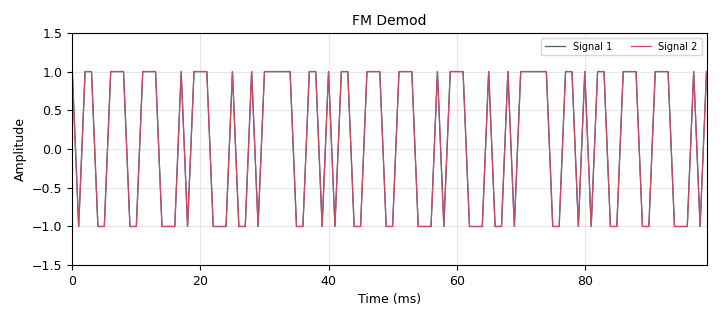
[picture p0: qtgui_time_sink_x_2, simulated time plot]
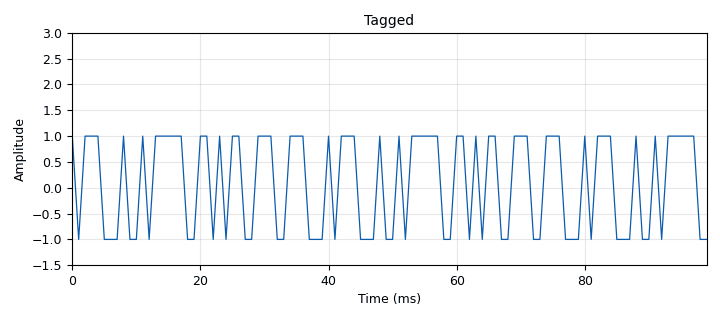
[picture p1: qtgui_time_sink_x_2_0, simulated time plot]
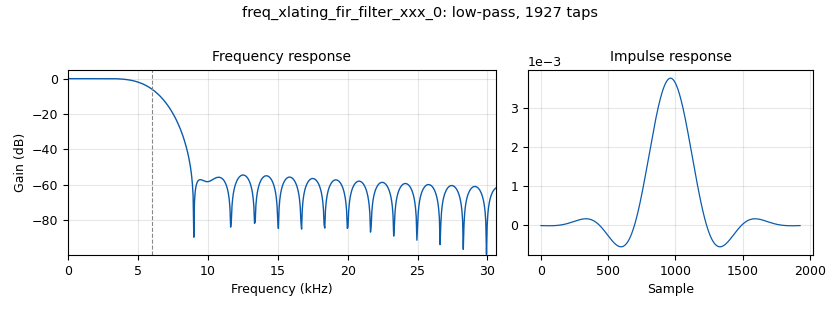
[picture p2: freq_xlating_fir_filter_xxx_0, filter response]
options:
  parameters:
    author: Admin
    generate_options: qt_gui
    id: Preamble_FSK
    output_language: python
    title: simulated FSK preamble
  states: {}

blocks:
- name: FM_decim
  id: variable
  parameters:
    value: int(samp_rate/decim/(bit_rate))
  states: {}
- name: FM_devia
  id: variable
  parameters:
    value: '1'
  states: {}
- name: GUI_t
  id: variable
  parameters:
    value: '0.1'
  states: {}
- name: bit_rate
  id: variable
  parameters:
    value: '1000'
  states: {}
- name: data
  id: variable
  parameters:
    value: '[random.choice((-1,1)) for i in range(16)]'
  states: {}
- name: data_label
  id: variable_qtgui_label
  parameters:
    gui_hint: (2,2,1,2)
    label: 'Data: '
    type: raw
    value: data
  states: {}
- name: decim
  id: variable
  parameters:
    value: int(samp_rate/(8*freq))
  states: {}
- name: freq
  id: variable
  parameters:
    value: '4000'
  states: {}
- name: gain
  id: variable_qtgui_range
  parameters:
    gui_hint: (0,0,1,2)
    start: '0.4'
    step: '0.2'
    stop: '2'
    value: '0.8'
  states: {}
- name: low_pass
  id: variable_low_pass_filter_taps
  parameters:
    cutoff_freq: 1.5*freq
    gain: '1.0'
    samp_rate: samp_rate
    width: freq
    win: window.WIN_HAMMING
  states: {}
- name: noise
  id: variable_qtgui_range
  parameters:
    gui_hint: (0,2,1,2)
    start: '0.001'
    step: '0.001'
    stop: '0.01'
    value: '0.001'
  states: {}
- name: pad
  id: variable
  parameters:
    value: int(samp_rate/bit_rate)
  states: {}
- name: postamble
  id: variable
  parameters:
    value: '[+1,+1,+1,-1,-1,-1,+1,-1,-1,+1,-1]'
  states: {}
- name: postamble_label
  id: variable_qtgui_label
  parameters:
    gui_hint: (2,1,1,1)
    label: 'Postamble: '
    type: raw
    value: postamble
  states: {}
- name: preamble
  id: variable
  parameters:
    value: '[+1,+1,+1,+1,+1,-1,-1,+1,+1,-1,+1,-1,+1]'
  states: {}
- name: preamble_label
  id: variable_qtgui_label
  parameters:
    gui_hint: (2,0,1,1)
    label: 'Preamble: '
    type: raw
    value: preamble
  states: {}
- name: samp_rate
  id: variable
  parameters:
    value: '3200000'
  states: {}
- name: analog_fm_demod_cf_0
  id: analog_fm_demod_cf
  parameters:
    audio_decim: FM_decim
    audio_pass: 0.1*freq
    audio_stop: 2*freq
    chan_rate: samp_rate/decim
    deviation: FM_devia*freq
    gain: '1.0'
    tau: '0'
  states: {}
- name: analog_noise_source_x_0
  id: analog_noise_source_x
  parameters:
    amp: noise
    noise_type: analog.GR_GAUSSIAN
    seed: '0'
    type: complex
  states: {}
- name: analog_sig_source_x_0
  id: analog_sig_source_x
  parameters:
    amp: '1'
    freq: '-freq'
    offset: '0'
    phase: '0'
    samp_rate: samp_rate
    type: complex
    waveform: analog.GR_COS_WAVE
  states: {}
- name: analog_sig_source_x_0_0
  id: analog_sig_source_x
  parameters:
    amp: '1'
    freq: freq
    offset: '0'
    phase: '0'
    samp_rate: samp_rate
    type: complex
    waveform: analog.GR_COS_WAVE
  states: {}
- name: analog_simple_squelch_cc_0
  id: analog_simple_squelch_cc
  parameters:
    alpha: '1'
    threshold: '-30'
  states: {}
- name: blocks_add_xx_0
  id: blocks_add_xx
  parameters:
    type: complex
  states: {}
- name: blocks_complex_to_float_0
  id: blocks_complex_to_float
  parameters: {}
  states: {}
- name: blocks_delay_0
  id: blocks_delay
  parameters:
    delay: '1'
    type: float
  states: {}
- name: blocks_float_to_complex_0
  id: blocks_float_to_complex
  parameters: {}
  states: {}
- name: blocks_multiply_const_vxx_0
  id: blocks_multiply_const_vxx
  parameters:
    const: gain
    type: complex
  states: {}
- name: blocks_multiply_const_vxx_0_0
  id: blocks_multiply_const_vxx
  parameters:
    const: '0.8'
    type: complex
  states: {}
- name: blocks_null_source_0
  id: blocks_null_source
  parameters:
    type: float
  states: {}
- name: blocks_repeat_0
  id: blocks_repeat
  parameters:
    interp: pad
    type: float
  states: {}
- name: blocks_tag_gate_0
  id: blocks_tag_gate
  parameters:
    propagate_tags: 'False'
    type: float
  states: {}
- name: blocks_throttle2_0
  id: blocks_throttle2
  parameters:
    samples_per_second: samp_rate
    type: complex
  states: {}
- name: blocks_vector_source_x_0
  id: blocks_vector_source_x
  parameters:
    repeat: 'True'
    type: float
    vector: preamble+data+postamble
  states: {}
- name: digital_corr_est_cc_0
  id: digital_corr_est_cc
  parameters:
    mark_delay: '1'
    sps: '1'
    symbols: preamble
    threshold: '0.9'
    threshold_method: digital.THRESHOLD_ABSOLUTE
  states: {}
- name: digital_corr_est_cc_0_0
  id: digital_corr_est_cc
  parameters:
    mark_delay: '1'
    sps: '1'
    symbols: postamble
    threshold: '0.9'
    threshold_method: digital.THRESHOLD_ABSOLUTE
  states: {}
- name: epy_block_0
  id: epy_block
  parameters:
    _source_code: |
      """
      Embedded Python Blocks:

      Each time this file is saved, GRC will instantiate the first class it finds
      to get ports and parameters of your block. The arguments to __init__  will
      be the parameters. All of them are required to have default values!
      """

      import numpy as np
      from gnuradio import gr


      class blk(gr.sync_block):  # other base classes are basic_block, decim_block, interp_block
          """Embedded Python Block example - a simple multiply const"""

          def __init__(self):  # only default arguments here
              """arguments to this function show up as parameters in GRC"""
              gr.sync_block.__init__(
                  self,
                  name='MUX',   # will show up in GRC
                  in_sig=[np.float32, np.complex64, np.complex64],
                  out_sig=[np.complex64]
              )
              # if an attribute with the same name as a parameter is found,
              # a callback is registered (properties work, too).


          def work(self, input_items, output_items):
              for smapleIndex in range(len(input_items[0])):
                  if input_items[0][smapleIndex] == -1.0:
                      output_items[0][smapleIndex] = input_items[1][smapleIndex]
                  elif input_items[0][smapleIndex] == 1.0:
                      output_items[0][smapleIndex] = input_items[2][smapleIndex]

              return len(output_items[0])
  states: {}
- name: epy_block_1
  id: epy_block
  parameters:
    _source_code: |
      """
      Embedded Python Blocks:

      Each time this file is saved, GRC will instantiate the first class it finds
      to get ports and parameters of your block. The arguments to __init__  will
      be the parameters. All of them are required to have default values!
      """

      import numpy as np
      from gnuradio import gr


      class blk(gr.sync_block):  # other base classes are basic_block, decim_block, interp_block
          """Embedded Python Block example - a simple multiply const"""

          def __init__(self, down_th=-0.5, up_th=0.5, default_out=0):  # only default arguments here
              """arguments to this function show up as parameters in GRC"""
              gr.sync_block.__init__(
                  self,
                  name='Threshold',   # will show up in GRC
                  in_sig=[np.float32],
                  out_sig=[np.float32]
              )
              # if an attribute with the same name as a parameter is found,
              # a callback is registered (properties work, too).
              self.down_th = down_th
              self.up_th = up_th
              self.default_out = default_out

          def work(self, input_items, output_items):
              for smapleIndex in range(len(input_items[0])):
                  if input_items[0][smapleIndex] <= self.down_th:
                      output_items[0][smapleIndex] = -1.0
                  elif input_items[0][smapleIndex] >= self.up_th:
                      output_items[0][smapleIndex] = 1.0
                  else:
                      output_items[0][smapleIndex] = self.default_out

              return len(output_items[0])
    default_out: '0.0'
    down_th: '-0.5'
    up_th: '0.5'
  states: {}
- name: epy_block_2
  id: epy_block
  parameters:
    _source_code: |
      import numpy as np
      from gnuradio import gr
      import pmt


      class blk(gr.sync_block):  # other base classes are basic_block, decim_block, interp_block

          def __init__(self):  # only default arguments here
              """arguments to this function show up as parameters in GRC"""
              gr.sync_block.__init__(
                  self,
                  name='Extract data',   # will show up in GRC
                  in_sig=[np.float32],
                  out_sig=[np.float32, np.float32]
              )
              # if an attribute with the same name as a parameter is found,
              # a callback is registered (properties work, too).

              self.to_start = 0  # count to start
              self.to_end = 0  # count to end
              '''state
                  1 when estimated preamble, prepare to start
                  2 when estimated postamble, prepare to stop
                  3 when info data is transmitting
                  0 otherwise'''
              self.state = 0

          def work(self, input_items, output_items):
              for smapleIndex in range(len(input_items[0])):
                  # detect tag
                  tags = self.get_tags_in_window(0, smapleIndex, smapleIndex+1)  # get the tags
                  for tag in tags:
                      key = pmt.to_python(tag.key)
                      if key != 'corr_est':  # only to find tag "corr_est"
                          continue
                      else:
                          value = pmt.to_python(tag.value)
                          if (round(value)==169) and (self.state==0):  # preamble
                              self.state = 1
                              self.to_start = 13
                          elif (round(value)==121) and (self.state==3):  # postamble
                              self.state = 2
                              self.to_end = 11
                          break
                  
                  # do
                  output_items[1][smapleIndex] = None
                  if self.state == 3:  # transmitting
                      output_items[1][smapleIndex] = input_items[0][smapleIndex]  # data to port 1
                  elif self.state == 1:  # prepare to start
                      self.to_start -= 1
                  elif self.state == 2:  # prepare to stop
                      self.to_end -= 1
                  
                  # state update
                  if (self.state==1) and (self.to_start==0):  # data start at next sample
                      self.state = 3
                  elif (self.state==2) and (self.to_end==0):  # end and stop
                      self.state = 0

              output_items[0][:] = input_items[0]  # copy all samples to output port 0
              return len(output_items[0])
  states: {}
- name: freq_xlating_fir_filter_xxx_0
  id: freq_xlating_fir_filter_xxx
  parameters:
    center_freq: '0'
    decim: decim
    samp_rate: samp_rate
    taps: low_pass
    type: ccc
  states: {}
- name: import_0
  id: import
  parameters:
    imports: import random
  states: {}
- name: qtgui_time_sink_x_2
  id: qtgui_time_sink_x
  parameters:
    grid: 'True'
    gui_hint: (1,0,1,4)
    name: FM Demod
    nconnections: '2'
    size: int(GUI_t*samp_rate/decim/FM_decim)
    srate: samp_rate/decim/FM_decim
    type: float
    ymax: '1.5'
    ymin: '-1.5'
  states: {}
- name: qtgui_time_sink_x_2_0
  id: qtgui_time_sink_x
  parameters:
    grid: 'True'
    gui_hint: (3,0,1,4)
    name: Tagged
    size: int(GUI_t*samp_rate/decim/FM_decim)
    srate: samp_rate/decim/FM_decim
    type: float
    ymax: '3'
    ymin: '-1.5'
  states: {}
- name: qtgui_time_sink_x_2_0_0
  id: qtgui_time_sink_x
  parameters:
    grid: 'True'
    gui_hint: (4,0,1,4)
    name: Data
    size: int(GUI_t*samp_rate/decim/FM_decim)
    srate: samp_rate/decim/FM_decim
    type: float
    ymax: '1.5'
    ymin: '-1.5'
  states: {}
- name: virtual_sink_0
  id: virtual_sink
  parameters:
    stream_id: FSK
  states: {}
- name: virtual_sink_0_0
  id: virtual_sink
  parameters:
    stream_id: data
  states: {}
- name: virtual_sink_1
  id: virtual_sink
  parameters:
    stream_id: demod
  states: {}
- name: virtual_source_0
  id: virtual_source
  parameters:
    stream_id: FSK
  states: {}
- name: virtual_source_0_0
  id: virtual_source
  parameters:
    stream_id: data
  states: {}
- name: virtual_source_1
  id: virtual_source
  parameters:
    stream_id: demod
  states: {}

connections:
- [analog_fm_demod_cf_0, '0', epy_block_1, '0']
- [analog_noise_source_x_0, '0', blocks_add_xx_0, '1']
- [analog_sig_source_x_0, '0', epy_block_0, '1']
- [analog_sig_source_x_0_0, '0', epy_block_0, '2']
- [analog_simple_squelch_cc_0, '0', analog_fm_demod_cf_0, '0']
- [blocks_add_xx_0, '0', freq_xlating_fir_filter_xxx_0, '0']
- [blocks_complex_to_float_0, '0', epy_block_2, '0']
- [blocks_delay_0, '0', qtgui_time_sink_x_2, '0']
- [blocks_float_to_complex_0, '0', digital_corr_est_cc_0, '0']
- [blocks_multiply_const_vxx_0, '0', blocks_add_xx_0, '0']
- [blocks_multiply_const_vxx_0_0, '0', blocks_throttle2_0, '0']
- [blocks_null_source_0, '0', blocks_float_to_complex_0, '1']
- [blocks_repeat_0, '0', epy_block_0, '0']
- [blocks_tag_gate_0, '0', qtgui_time_sink_x_2_0_0, '0']
- [blocks_throttle2_0, '0', virtual_sink_0, '0']
- [blocks_vector_source_x_0, '0', blocks_repeat_0, '0']
- [blocks_vector_source_x_0, '0', virtual_sink_0_0, '0']
- [digital_corr_est_cc_0, '0', digital_corr_est_cc_0_0, '0']
- [digital_corr_est_cc_0_0, '0', blocks_complex_to_float_0, '0']
- [epy_block_0, '0', blocks_multiply_const_vxx_0_0, '0']
- [epy_block_1, '0', qtgui_time_sink_x_2, '1']
- [epy_block_1, '0', virtual_sink_1, '0']
- [epy_block_2, '0', qtgui_time_sink_x_2_0, '0']
- [epy_block_2, '1', blocks_tag_gate_0, '0']
- [freq_xlating_fir_filter_xxx_0, '0', analog_simple_squelch_cc_0, '0']
- [virtual_source_0, '0', blocks_multiply_const_vxx_0, '0']
- [virtual_source_0_0, '0', blocks_delay_0, '0']
- [virtual_source_1, '0', blocks_float_to_complex_0, '0']

metadata:
  file_format: 1
  grc_version: 3.10.7.0
